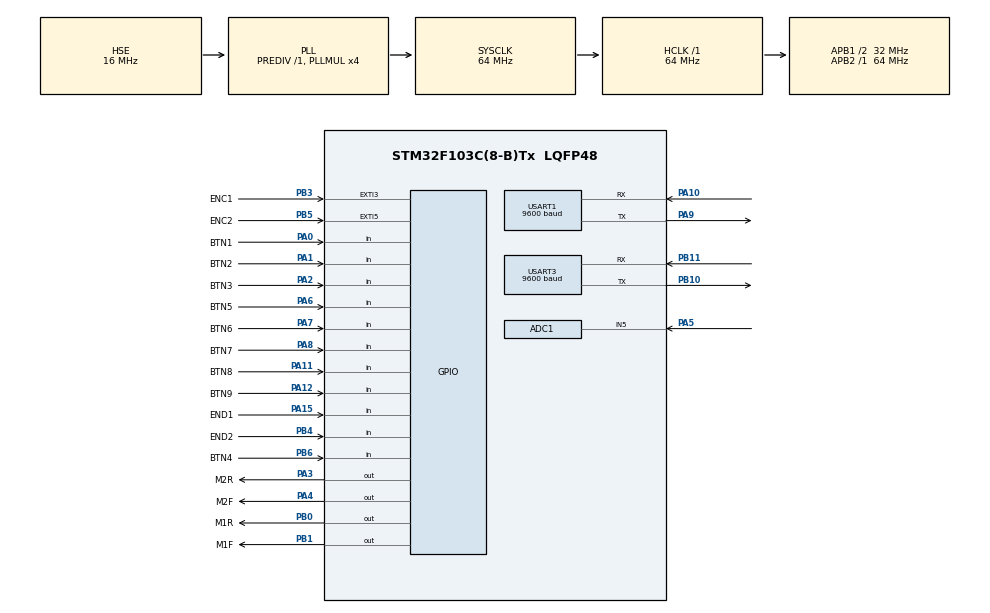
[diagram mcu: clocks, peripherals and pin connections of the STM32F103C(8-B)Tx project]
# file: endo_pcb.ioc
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ADC1.Channel-0\#ChannelRegularConversion=ADC_CHANNEL_5
ADC1.ContinuousConvMode=ENABLE
ADC1.NbrOfConversionFlag=1
ADC1.Rank-0\#ChannelRegularConversion=1
ADC1.SamplingTime-0\#ChannelRegularConversion=ADC_SAMPLETIME_1CYCLE_5
ADC1.master=1
Dma.ADC1.2.Direction=DMA_PERIPH_TO_MEMORY
Dma.ADC1.2.Instance=DMA1_Channel1
Dma.ADC1.2.MemDataAlignment=DMA_MDATAALIGN_HALFWORD
Dma.ADC1.2.MemInc=DMA_MINC_ENABLE
Dma.ADC1.2.Mode=DMA_NORMAL
Dma.ADC1.2.PeriphDataAlignment=DMA_PDATAALIGN_HALFWORD
Dma.ADC1.2.PeriphInc=DMA_PINC_DISABLE
Dma.ADC1.2.Priority=DMA_PRIORITY_LOW
Dma.Request0=USART1_RX
Dma.Request1=USART1_TX
Dma.Request2=ADC1
Dma.USART1_RX.0.Direction=DMA_PERIPH_TO_MEMORY
Dma.USART1_RX.0.Instance=DMA1_Channel5
Dma.USART1_RX.0.MemDataAlignment=DMA_MDATAALIGN_BYTE
Dma.USART1_RX.0.MemInc=DMA_MINC_ENABLE
Dma.USART1_RX.0.Mode=DMA_NORMAL
Dma.USART1_RX.0.PeriphDataAlignment=DMA_PDATAALIGN_BYTE
Dma.USART1_RX.0.PeriphInc=DMA_PINC_DISABLE
Dma.USART1_RX.0.Priority=DMA_PRIORITY_LOW
Dma.USART1_TX.1.Direction=DMA_MEMORY_TO_PERIPH
Dma.USART1_TX.1.Instance=DMA1_Channel4
Dma.USART1_TX.1.MemDataAlignment=DMA_MDATAALIGN_BYTE
Dma.USART1_TX.1.MemInc=DMA_MINC_ENABLE
Dma.USART1_TX.1.Mode=DMA_NORMAL
Dma.USART1_TX.1.PeriphDataAlignment=DMA_PDATAALIGN_BYTE
Dma.USART1_TX.1.PeriphInc=DMA_PINC_DISABLE
Dma.USART1_TX.1.Priority=DMA_PRIORITY_LOW
FREERTOS.Events01=received,Dynamic,NULL
FREERTOS.Tasks01=defaultTask,24,128,StartDefaultTask,Default,NULL,Dynamic,NULL,NULL;communication,9,128,CommTask,Default,NULL,Dynamic,NULL,NULL;buttonsRead,8,128,BtnReadTask,Default,NULL,Dynamic,NULL,NULL
FREERTOS.configUSE_NEWLIB_REENTRANT=1
Mcu.Family=STM32F1
Mcu.Name=STM32F103C(8-B)Tx
Mcu.Package=LQFP48
Mcu.UserConstants=cam_UART,huart3;main_UART,huart1
NVIC.DMA1_Channel1_IRQn=true\:5\:0\:false\:false\:true\:true\:false\:true\:true
NVIC.DMA1_Channel4_IRQn=true\:5\:0\:false\:false\:true\:true\:false\:true\:true
NVIC.DMA1_Channel5_IRQn=true\:5\:0\:false\:false\:true\:true\:false\:true\:true
NVIC.EXTI3_IRQn=true\:5\:0\:false\:false\:true\:true\:true\:true\:true
NVIC.EXTI9_5_IRQn=true\:5\:0\:false\:false\:true\:true\:true\:true\:true
NVIC.PriorityGroup=NVIC_PRIORITYGROUP_4
NVIC.TIM1_UP_IRQn=true\:5\:0\:false\:false\:true\:true\:true\:true\:true
NVIC.USART1_IRQn=true\:5\:0\:false\:false\:true\:true\:true\:true\:true
NVIC.USART3_IRQn=true\:5\:0\:false\:false\:true\:true\:true\:true\:true
PA0-WKUP.GPIO_Label=BTN1
PA0-WKUP.Signal=GPIO_Input
PA1.GPIO_Label=BTN2
PA1.Signal=GPIO_Input
PA10.Mode=Asynchronous
PA10.Signal=USART1_RX
PA11.GPIO_Label=BTN8
PA11.Signal=GPIO_Input
PA12.GPIO_Label=BTN9
PA12.Signal=GPIO_Input
PA13.Mode=Serial_Wire
PA13.Signal=SYS_JTMS-SWDIO
PA14.Mode=Serial_Wire
PA14.Signal=SYS_JTCK-SWCLK
PA15.GPIO_Label=END1
PA15.Signal=GPIO_Input
PA2.GPIO_Label=BTN3
PA2.Signal=GPIO_Input
PA3.GPIO_Label=M2R
PA3.Signal=GPIO_Output
PA4.GPIO_Label=M2F
PA4.Signal=GPIO_Output
PA5.Signal=ADCx_IN5
PA6.GPIO_Label=BTN5
PA6.Signal=GPIO_Input
PA7.GPIO_Label=BTN6
PA7.Signal=GPIO_Input
PA8.GPIO_Label=BTN7
PA8.Signal=GPIO_Input
PA9.Mode=Asynchronous
PA9.Signal=USART1_TX
PB0.GPIO_Label=M1R
PB0.Signal=GPIO_Output
PB1.GPIO_Label=M1F
PB1.Signal=GPIO_Output
PB10.Mode=Asynchronous
PB10.Signal=USART3_TX
PB11.Mode=Asynchronous
PB11.Signal=USART3_RX
PB3.GPIO_Label=ENC1
PB3.GPIO_ModeDefaultEXTI=GPIO_MODE_IT_RISING_FALLING
PB3.Signal=GPXTI3
PB4.GPIO_Label=END2
PB4.Signal=GPIO_Input
PB5.GPIO_Label=ENC2
PB5.GPIO_ModeDefaultEXTI=GPIO_MODE_IT_RISING_FALLING
PB5.Signal=GPXTI5
PB6.GPIO_Label=BTN4
PB6.Signal=GPIO_Input
PD0-OSC_IN.Mode=HSE-External-Oscillator
PD0-OSC_IN.Signal=RCC_OSC_IN
PD1-OSC_OUT.Mode=HSE-External-Oscillator
PD1-OSC_OUT.Signal=RCC_OSC_OUT
ProjectManager.HeapSize=0x200
ProjectManager.StackSize=0x400
ProjectManager.TargetToolchain=STM32CubeIDE
RCC.ADCPresc=RCC_ADCPCLK2_DIV8
RCC.AHBFreq_Value=64000000
RCC.APB1CLKDivider=RCC_HCLK_DIV2
RCC.APB1Freq_Value=32000000
RCC.APB1TimFreq_Value=64000000
RCC.APB2Freq_Value=64000000
RCC.APB2TimFreq_Value=64000000
RCC.HCLKFreq_Value=64000000
RCC.HSE_VALUE=16000000
RCC.PLLMUL=RCC_PLL_MUL4
RCC.PLLSourceVirtual=RCC_PLLSOURCE_HSE
RCC.SYSCLKFreq_VALUE=64000000
RCC.SYSCLKSource=RCC_SYSCLKSOURCE_PLLCLK
RCC.USBFreq_Value=64000000
SH.ADCx_IN5.0=ADC1_IN5,IN5
TIM1.Period=63
TIM1.Prescaler=0
USART1.BaudRate=9600
USART1.Parity=PARITY_NONE
USART1.VirtualMode=VM_ASYNC
USART1.WordLength=WORDLENGTH_8B
USART3.BaudRate=9600
USART3.VirtualMode=VM_ASYNC
VP_FREERTOS_VS_CMSIS_V2.Mode=CMSIS_V2
VP_TIM1_VS_ClockSourceINT.Mode=Internal
board=custom

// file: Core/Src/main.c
/* USER CODE BEGIN Header */
/**
  ******************************************************************************
  * @file           : main.c
  * @brief          : Main program body
  ******************************************************************************
  * @attention
  *
  * Copyright (c) 2024 STMicroelectronics.
  * All rights reserved.
  *
  * This software is licensed under terms that can be found in the LICENSE file
  * in the root directory of this software component.
  * If no LICENSE file comes with this software, it is provided AS-IS.
  *
  ******************************************************************************
  */
/* USER CODE END Header */
#include "main.h"
#include "cmsis_os.h"
#include "adc.h"
#include "dma.h"
#include "tim.h"
#include "usart.h"
#include "gpio.h"

void SystemClock_Config(void);
void MX_FREERTOS_Init(void);

int main(void)
{

  /* MCU Configuration--------------------------------------------------------*/

  /* Reset of all peripherals, Initializes the Flash interface and the Systick. */
  HAL_Init();

  /* Configure the system clock */
  SystemClock_Config();

  /* Initialize all configured peripherals */
  MX_GPIO_Init();
  MX_DMA_Init();
  MX_USART1_UART_Init();
  MX_USART3_UART_Init();
  MX_TIM1_Init();
  MX_ADC1_Init();

  /* Init scheduler */
  osKernelInitialize();  /* Call init function for freertos objects (in freertos.c) */
  MX_FREERTOS_Init();

  /* Start scheduler */
  osKernelStart();
  /* We should never get here as control is now taken by the scheduler */
  /* Infinite loop */
  while (1)
  {

  }
}

void SystemClock_Config(void)
{
  RCC_OscInitTypeDef RCC_OscInitStruct = {0};
  RCC_ClkInitTypeDef RCC_ClkInitStruct = {0};
  RCC_PeriphCLKInitTypeDef PeriphClkInit = {0};

  /** Initializes the RCC Oscillators according to the specified parameters
  * in the RCC_OscInitTypeDef structure.
  */
  RCC_OscInitStruct.OscillatorType = RCC_OSCILLATORTYPE_HSE;
  RCC_OscInitStruct.HSEState = RCC_HSE_ON;
  RCC_OscInitStruct.HSEPredivValue = RCC_HSE_PREDIV_DIV1;
  RCC_OscInitStruct.HSIState = RCC_HSI_ON;
  RCC_OscInitStruct.PLL.PLLState = RCC_PLL_ON;
  RCC_OscInitStruct.PLL.PLLSource = RCC_PLLSOURCE_HSE;
  RCC_OscInitStruct.PLL.PLLMUL = RCC_PLL_MUL4;
  if (HAL_RCC_OscConfig(&RCC_OscInitStruct) != HAL_OK)
  {
    Error_Handler();
  }

  /** Initializes the CPU, AHB and APB buses clocks
  */
  RCC_ClkInitStruct.ClockType = RCC_CLOCKTYPE_HCLK|RCC_CLOCKTYPE_SYSCLK
                              |RCC_CLOCKTYPE_PCLK1|RCC_CLOCKTYPE_PCLK2;
  RCC_ClkInitStruct.SYSCLKSource = RCC_SYSCLKSOURCE_PLLCLK;
  RCC_ClkInitStruct.AHBCLKDivider = RCC_SYSCLK_DIV1;
  RCC_ClkInitStruct.APB1CLKDivider = RCC_HCLK_DIV2;
  RCC_ClkInitStruct.APB2CLKDivider = RCC_HCLK_DIV1;

  if (HAL_RCC_ClockConfig(&RCC_ClkInitStruct, FLASH_LATENCY_2) != HAL_OK)
  {
    Error_Handler();
  }
  PeriphClkInit.PeriphClockSelection = RCC_PERIPHCLK_ADC;
  PeriphClkInit.AdcClockSelection = RCC_ADCPCLK2_DIV8;
  if (HAL_RCCEx_PeriphCLKConfig(&PeriphClkInit) != HAL_OK)
  {
    Error_Handler();
  }
}

void Error_Handler(void)
{
  __disable_irq();
  while (1)
  {
  }
}

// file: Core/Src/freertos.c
/* USER CODE BEGIN Header */
/**
  ******************************************************************************
  * File Name          : freertos.c
  * Description        : Code for freertos applications
  ******************************************************************************
  * @attention
  *
  * Copyright (c) 2024 STMicroelectronics.
  * All rights reserved.
  *
  * This software is licensed under terms that can be found in the LICENSE file
  * in the root directory of this software component.
  * If no LICENSE file comes with this software, it is provided AS-IS.
  *
  ******************************************************************************
  */
/* USER CODE END Header */

#include "FreeRTOS.h"
#include "task.h"
#include "main.h"
#include "cmsis_os.h"

/* USER CODE BEGIN Includes */
#include "usart.h"
/* USER CODE END Includes */

/* USER CODE BEGIN Variables */
uint8_t op_data_RX[20];
uint8_t op_data_TX[20];
uint8_t cam_data_TX[20];
uint8_t cam_data_RX[20];
uint8_t br_inc[9]={0x02,0x10,0x3F,0xE0,0x00,0x03,0x10,0x00,0x03};
uint8_t br_dec[9]={0x02,0x10,0x3F,0xE0,0x00,0x03,0x20,0x00,0x03};
uint8_t awb[9]	={0x02,0x10,0x3F,0xE0,0x00,0x15,0x00,0x01,0x03};

uint8_t br_inc_old;
uint8_t br_dec_old;
uint8_t awb_old;

int8_t pos_f,pos_z;
int8_t dir_f,dir_z;
uint16_t contrast;
uint16_t old_contrast;
uint16_t contrast1;
uint16_t contrast2;
uint16_t contrast3;
uint16_t contrast4;

uint16_t data[2][2000];
uint16_t i;

/* USER CODE END Variables */
/* Definitions for defaultTask */
osThreadId_t defaultTaskHandle;
const osThreadAttr_t defaultTask_attributes = {
  .name = "defaultTask",
  .stack_size = 128 * 4,
  .priority = (osPriority_t) osPriorityNormal,
};
/* Definitions for communication */
osThreadId_t communicationHandle;
const osThreadAttr_t communication_attributes = {
  .name = "communication",
  .stack_size = 128 * 4,
  .priority = (osPriority_t) osPriorityLow1,
};
/* Definitions for buttonsRead */
osThreadId_t buttonsReadHandle;
const osThreadAttr_t buttonsRead_attributes = {
  .name = "buttonsRead",
  .stack_size = 128 * 4,
  .priority = (osPriority_t) osPriorityLow,
};
/* Definitions for received */
osEventFlagsId_t receivedHandle;
const osEventFlagsAttr_t received_attributes = {
  .name = "received"
};

/* USER CODE BEGIN FunctionPrototypes */
void HAL_UART_RxCpltCallback(UART_HandleTypeDef *huart)
{
	osEventFlagsSet(receivedHandle, 0x01);
}

void HAL_UART_TxCpltCallback(UART_HandleTypeDef *huart)
{
	//osEventFlagsSet(receivedHandle, 0x01);
}

void f_zero()
{
	pos_f=32;
	HAL_GPIO_WritePin(M2R_GPIO_Port,M2R_Pin,GPIO_PIN_RESET);
	HAL_GPIO_WritePin(M2F_GPIO_Port,M2F_Pin,GPIO_PIN_SET);
	while(HAL_GPIO_ReadPin(END1_GPIO_Port, END1_Pin) !=  GPIO_PIN_RESET);
	HAL_GPIO_WritePin(M2F_GPIO_Port,M2F_Pin,GPIO_PIN_RESET);
	osDelay(50);
	pos_f=0;
}

void z_zero()
{
	pos_z=48;
	HAL_GPIO_WritePin(M1F_GPIO_Port,M1F_Pin,GPIO_PIN_RESET);
	HAL_GPIO_WritePin(M1R_GPIO_Port,M1R_Pin,GPIO_PIN_SET);
	while(HAL_GPIO_ReadPin(END2_GPIO_Port, END2_Pin) !=  GPIO_PIN_RESET);
	HAL_GPIO_WritePin(M1R_GPIO_Port,M1R_Pin,GPIO_PIN_RESET);
	osDelay(50);
	pos_z=0;
	dir_z = 1;
	HAL_GPIO_WritePin(M1F_GPIO_Port,M1F_Pin,GPIO_PIN_SET);
	while(pos_z <5);
	//osDelay(120);
	HAL_GPIO_WritePin(M1F_GPIO_Port,M1F_Pin,GPIO_PIN_RESET);
}
void stop_f()
{

		HAL_GPIO_WritePin(M2R_GPIO_Port,M2R_Pin,GPIO_PIN_SET);
		HAL_GPIO_WritePin(M2F_GPIO_Port,M2F_Pin,GPIO_PIN_SET);
		osDelay(2);
		HAL_GPIO_WritePin(M2R_GPIO_Port,M2R_Pin,GPIO_PIN_RESET);
		HAL_GPIO_WritePin(M2F_GPIO_Port,M2F_Pin,GPIO_PIN_RESET);
}

void autofocus()
{
	i=0;
	old_contrast = contrast;
	while (pos_f>0)
	{
		dir_f=0;
		HAL_GPIO_WritePin(M2F_GPIO_Port,M2F_Pin,GPIO_PIN_SET);
		osDelay(20);
		stop_f();
	}
	HAL_GPIO_WritePin(M2F_GPIO_Port,M2F_Pin,GPIO_PIN_RESET);

	while ((pos_f<=31)&&((pos_f+pos_z)<=64)&&(old_contrast <= (contrast+1))){

		data[0][i]=contrast;
		data[1][i]=pos_f;
		i++;
		dir_f=1;
		old_contrast = contrast;
		HAL_GPIO_WritePin(M2R_GPIO_Port,M2R_Pin,GPIO_PIN_SET);
		osDelay(20);
		stop_f();
		HAL_GPIO_WritePin(M2R_GPIO_Port,M2R_Pin,GPIO_PIN_RESET);
		if (i>200) return;

	}

	while ((pos_f>=2)&&(old_contrast <= contrast)){

		data[0][i]=contrast;
		data[1][i]=pos_f;
		i++;
		dir_f=0;
		old_contrast = contrast;
		HAL_GPIO_WritePin(M2F_GPIO_Port,M2F_Pin,GPIO_PIN_SET);
		osDelay(20);
		stop_f();
		HAL_GPIO_WritePin(M2F_GPIO_Port,M2F_Pin,GPIO_PIN_RESET);
		if (i>400) return;
	}
	int imax = 0;
	for (int j=0; j<i; j++)
	{
		if (data[0][imax]<=data[0][j]) imax = j;
	}

	i=0;
	while (pos_f >= (data[1][imax])){
			dir_f=0;
			old_contrast = contrast;
			HAL_GPIO_WritePin(M2F_GPIO_Port,M2F_Pin,GPIO_PIN_SET);
			osDelay(20);
			stop_f();
			HAL_GPIO_WritePin(M2F_GPIO_Port,M2F_Pin,GPIO_PIN_RESET);
		//	if (i>150) return;
			i++;
		}
	i=0;
	while ((contrast < (0.98*data[0][imax]))&&(pos_f>=2)&&(pos_f<=31)&&((pos_f+pos_z)<=64)){
		dir_f=0;
		old_contrast = contrast;
		HAL_GPIO_WritePin(M2F_GPIO_Port,M2F_Pin,GPIO_PIN_SET);
		osDelay(20);
		stop_f();
		HAL_GPIO_WritePin(M2F_GPIO_Port,M2F_Pin,GPIO_PIN_RESET);
		osDelay(150);
		if (i>150) return;
		i++;

	}

	/*
	i=0;
	contrast1 = contrast;
	do
	{
		data[i]=contrast;
		i++;
		dir_f=1;
		old_contrast = contrast;
		HAL_GPIO_WritePin(M2R_GPIO_Port,M2R_Pin,GPIO_PIN_SET);
		osDelay(100);
		data[i]=contrast;
		i++;
		stop_f();
		data[i]=contrast;
		i++;
		HAL_GPIO_WritePin(M2R_GPIO_Port,M2R_Pin,GPIO_PIN_RESET);

	}while ((old_contrast <= contrast)&&(pos_f<=30));

	contrast2 = contrast;

	data[i]=0xff;
	i+=4;

	do
	{
		data[i]=contrast;
		i++;
		old_contrast = contrast;
		dir_f=0;
		HAL_GPIO_WritePin(M2F_GPIO_Port,M2F_Pin,GPIO_PIN_SET);
		osDelay(100);
		data[i]=contrast;
		i++;
		stop_f();
		data[i]=contrast;
		i++;
		HAL_GPIO_WritePin(M2F_GPIO_Port,M2F_Pin,GPIO_PIN_RESET);
	}while ((old_contrast <= contrast)&&(pos_f>=2));
	contrast3 = contrast;

	HAL_GPIO_WritePin(M2R_GPIO_Port,M2R_Pin,GPIO_PIN_SET);
	dir_f=1;
	osDelay(10);
	HAL_GPIO_WritePin(M2R_GPIO_Port,M2R_Pin,GPIO_PIN_RESET);
	contrast4 = contrast;*/

}

/* USER CODE END FunctionPrototypes */

void StartDefaultTask(void *argument);
void CommTask(void *argument);
void BtnReadTask(void *argument);

void MX_FREERTOS_Init(void); /* (MISRA C 2004 rule 8.1) */

void MX_FREERTOS_Init(void) {

  /* Create the thread(s) */
  /* creation of defaultTask */
  defaultTaskHandle = osThreadNew(StartDefaultTask, NULL, &defaultTask_attributes);

  /* creation of communication */
  communicationHandle = osThreadNew(CommTask, NULL, &communication_attributes);

  /* creation of buttonsRead */
  buttonsReadHandle = osThreadNew(BtnReadTask, NULL, &buttonsRead_attributes);

  /* Create the event(s) */
  /* creation of received */
  receivedHandle = osEventFlagsNew(&received_attributes);

}

void StartDefaultTask(void *argument)
{
  /* USER CODE BEGIN StartDefaultTask */
	f_zero();
	z_zero();
  /* Infinite loop */
  for(;;)
  {
    osDelay(1);
  }
  /* USER CODE END StartDefaultTask */
}

void CommTask(void *argument)
{
  /* USER CODE BEGIN CommTask */
	osDelay(500);
  /* Infinite loop */
  for(;;)
  {

	  	HAL_UART_AbortReceive(&huart1);
	  	while(HAL_UART_Receive_DMA(&huart1, op_data_RX, 20)!=HAL_OK);
	  	osEventFlagsWait(receivedHandle, 0x01, osFlagsWaitAny, 500); //Ожидание флага приема данных
	  	uint8_t contrast_temp;
	  	contrast_temp = (op_data_RX[3]+(op_data_RX[2]<<8))/100;
	  	if (contrast_temp<100) contrast=contrast_temp;
	  	for (int i = 0; i<10; i++) cam_data_TX[i] = op_data_RX[i+8];

	  	if (cam_data_TX[0] != 0)
	  	{
	  		if (cam_data_TX[1] == 0x10) HAL_UART_Transmit(&huart3,cam_data_TX,9,1000);
	  		else HAL_UART_Transmit(&huart3,cam_data_TX,4,1000);
	  	}
	  	HAL_UART_Transmit_DMA(&huart1,op_data_TX,20);

    osDelay(1);
  }
  /* USER CODE END CommTask */
}

void BtnReadTask(void *argument)
{
  /* USER CODE BEGIN BtnReadTask */
	osDelay(500);
  /* Infinite loop */
  for(;;)
  {

	  op_data_TX[0]=0xfe;
	  op_data_TX[1]++;
	  op_data_TX[3]=0;
	  op_data_TX[4]=0;
	  op_data_TX[5]=0;
	  HAL_GPIO_WritePin(M1R_GPIO_Port,M1R_Pin,GPIO_PIN_RESET);
	  HAL_GPIO_WritePin(M1F_GPIO_Port,M1F_Pin,GPIO_PIN_RESET);
	  HAL_GPIO_WritePin(M2R_GPIO_Port,M2R_Pin,GPIO_PIN_RESET);
	  HAL_GPIO_WritePin(M2F_GPIO_Port,M2F_Pin,GPIO_PIN_RESET);

	  /*кнопки*/
	  //+focus
	  if (HAL_GPIO_ReadPin(BTN1_GPIO_Port, BTN1_Pin) ==  GPIO_PIN_RESET){
		  if ((pos_f<=31)&&((pos_f+pos_z)<=64)){
			  op_data_TX[3] += 0b00000001;
			  dir_f = 1;
			  HAL_GPIO_WritePin(M2R_GPIO_Port,M2R_Pin,GPIO_PIN_SET);
			  osDelay(10);
			  HAL_GPIO_WritePin(M2R_GPIO_Port,M2R_Pin,GPIO_PIN_RESET);

		  }
	  }
	  //-focus
	  if (HAL_GPIO_ReadPin(BTN9_GPIO_Port, BTN9_Pin) ==  GPIO_PIN_RESET){
		  if(pos_f>0){
			  op_data_TX[3] += 0b00000010;
			  dir_f = 0;
			  HAL_GPIO_WritePin(M2F_GPIO_Port,M2F_Pin,GPIO_PIN_SET);
			  osDelay(10);
			  HAL_GPIO_WritePin(M2F_GPIO_Port,M2F_Pin,GPIO_PIN_RESET);

		  }

	  }
	  //autofocus
	  if (HAL_GPIO_ReadPin(BTN4_GPIO_Port, BTN4_Pin) ==  GPIO_PIN_RESET){
		  op_data_TX[3] += 0b00000100;
		  autofocus();
	  }

	  //+zoom
	  if (HAL_GPIO_ReadPin(BTN2_GPIO_Port, BTN2_Pin) ==  GPIO_PIN_RESET){
		  if ((pos_z<=47)&&((pos_f+pos_z)<=64)){
			  op_data_TX[3] += 0b00001000;
			  dir_z = 1;
			  HAL_GPIO_WritePin(M1F_GPIO_Port,M1F_Pin,GPIO_PIN_SET);
		  }

	  }
	  //-zoom
	  if (HAL_GPIO_ReadPin(BTN8_GPIO_Port, BTN8_Pin) ==  GPIO_PIN_RESET){
		  if (pos_z>0){
			  op_data_TX[3] += 0b00010000;
			  dir_z=0;
			  HAL_GPIO_WritePin(M1R_GPIO_Port,M1R_Pin,GPIO_PIN_SET);
		  }
	  }
	  //L
	  if (HAL_GPIO_ReadPin(BTN7_GPIO_Port, BTN7_Pin) ==  GPIO_PIN_RESET){
		  op_data_TX[3] += 0b00100000;
		  if (br_dec_old==0)
		  {
			  HAL_UART_Transmit(&huart3,br_dec,9,1000);
			  osDelay(50);
		  }
		  br_dec_old = 1;
	  }
	  else br_dec_old = 0;
	  //R
	  if (HAL_GPIO_ReadPin(BTN3_GPIO_Port, BTN3_Pin) ==  GPIO_PIN_RESET){
		  op_data_TX[3] += 0b01000000;
		  if (br_inc_old==0)
		  {
			  HAL_UART_Transmit(&huart3,br_inc,9,1000);
			  osDelay(50);
		  }
		  br_inc_old =1;
	  }
	  else br_inc_old = 0;
	  //AWB
	  if (HAL_GPIO_ReadPin(BTN5_GPIO_Port, BTN5_Pin) ==  GPIO_PIN_RESET){
		  op_data_TX[3] += 0b10000000;
		  if (br_inc_old==0)
		  {
			  HAL_UART_Transmit(&huart3,awb,9,1000);
			  osDelay(50);
		  }
		  awb_old = 1;
	  }
	  else awb_old = 0;
	  //Snapshot
	  if (HAL_GPIO_ReadPin(BTN6_GPIO_Port, BTN6_Pin) ==  GPIO_PIN_RESET){
		  op_data_TX[4] += 0b00000001;
	  }

	  /* датчики положения оптические*/
	  if (HAL_GPIO_ReadPin(ENC1_GPIO_Port, ENC1_Pin) ==  GPIO_PIN_RESET){
		  op_data_TX[5] += 0b00000001;
	  }
	  if (HAL_GPIO_ReadPin(ENC2_GPIO_Port, ENC2_Pin) ==  GPIO_PIN_RESET){
		  op_data_TX[5] += 0b00000010;
	  }
	  if (HAL_GPIO_ReadPin(END1_GPIO_Port, END1_Pin) ==  GPIO_PIN_RESET){
	  	  op_data_TX[5] += 0b00000100;
	  }
	  if (HAL_GPIO_ReadPin(END2_GPIO_Port, END2_Pin) ==  GPIO_PIN_RESET){
	  	  op_data_TX[5] += 0b00001000;
	  }

	  osDelay(10);
  }
  /* USER CODE END BtnReadTask */
}
